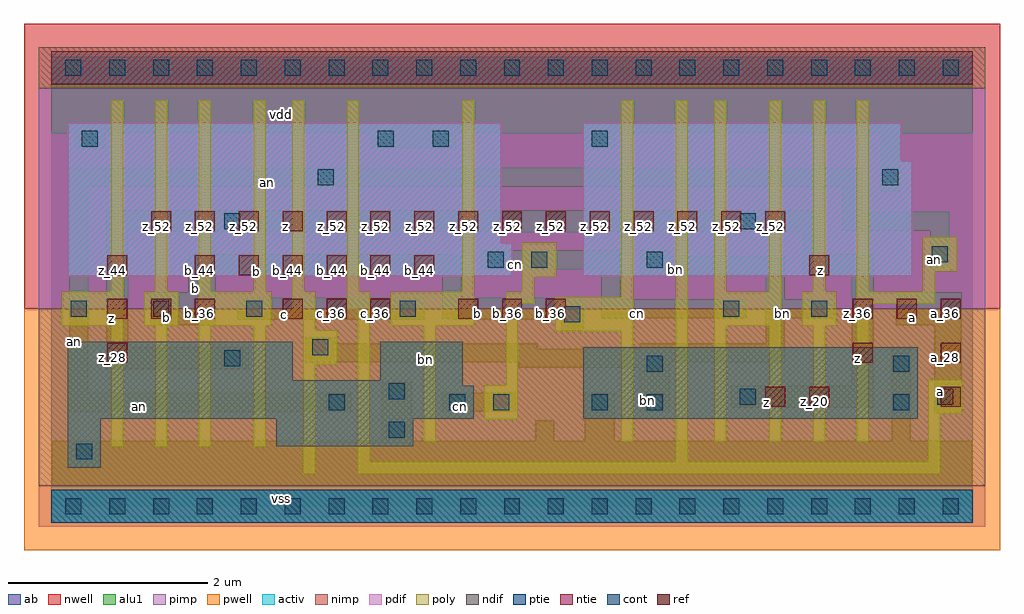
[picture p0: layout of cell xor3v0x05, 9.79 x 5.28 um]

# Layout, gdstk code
import gdstk
lib = gdstk.Library(unit=1e-6, precision=2.5e-09)
def R(c, l, rs):  # rectangles x0, y0, x1, y1
    for r in rs: c.add(gdstk.rectangle(r[:2], r[2:], *l))
def A(c, l, x, y, w, h, nx, ny, dx, dy):  # array of equal rectangles
    R(c, l, [(x+i*dx, y+j*dy, x+i*dx+w, y+j*dy+h) for i in range(nx) for j in range(ny)])
ndif = (3, 0)
pdif = (4, 0)
ntie = (5, 0)
ptie = (6, 0)
ref = (24, 0)
cont = (25, 0)
pwell = (41, 0)
nwell = (42, 0)
activ = (43, 0)
pimp = (44, 0)
nimp = (45, 0)
poly = (46, 0)
alu1 = (49, 0)
ab = (63, 0)

xor3v0x05 = lib.new_cell('xor3v0x05')
R(xor3v0x05, ndif, [(0.165,0.385,0.495,0.88), (2.255,0.605,3.63,0.88), (0.165,0.88,4.235,1.21), (5.335,0.88,8.69,1.595), (0.165,1.21,4.125,1.265), (0.165,1.265,2.42,1.65), (3.3,1.265,4.125,1.65)])
R(xor3v0x05, pdif, [(0.165,2.31,4.62,2.64), (5.335,2.31,8.635,3.465), (0.165,2.64,4.51,3.85), (5.335,3.465,8.525,3.85)])
R(xor3v0x05, ntie, [(0,4.235,9.24,4.565)])
R(xor3v0x05, ptie, [(0,-0.165,9.24,0.165)])
A(xor3v0x05, ref, 0.56, 1.88, 0.2, 0.2, 3, 1, 0.44, 0)
A(xor3v0x05, ref, 2.32, 1.88, 0.2, 0.2, 3, 1, 0.44, 0)
A(xor3v0x05, ref, 4.08, 1.88, 0.2, 0.2, 3, 1, 0.44, 0)
A(xor3v0x05, ref, 8.04, 1.88, 0.2, 0.2, 3, 1, 0.44, 0)
A(xor3v0x05, ref, 1.44, 2.32, 0.2, 0.2, 6, 1, 0.44, 0)
A(xor3v0x05, ref, 1, 2.76, 0.2, 0.2, 15, 1, 0.44, 0)
R(xor3v0x05, ref, [(7.16,1,7.36,1.2), (7.6,1,7.8,1.2), (8.92,1,9.12,1.2), (0.56,1.44,0.76,1.64), (8.04,1.44,8.24,1.64), (8.92,1.44,9.12,1.64), (0.56,2.32,0.76,2.52), (7.6,2.32,7.8,2.52)])
A(xor3v0x05, cont, 0.14, -0.08, 0.16, 0.16, 21, 2, 0.44, 4.4)
R(xor3v0x05, cont, [(0.25,0.47,0.41,0.63), (3.385,0.69,3.545,0.85), (2.78,0.965,2.94,1.125), (3.99,0.965,4.15,1.125), (4.43,0.965,4.59,1.125), (5.42,0.965,5.58,1.125), (5.97,0.965,6.13,1.125), (8.445,0.965,8.605,1.125), (6.905,1.02,7.065,1.18), (8.885,1.02,9.045,1.18), (3.385,1.075,3.545,1.235), (5.97,1.35,6.13,1.51), (8.445,1.35,8.605,1.51), (1.735,1.405,1.895,1.565), (2.615,1.515,2.775,1.675), (5.145,1.845,5.305,2.005), (0.195,1.9,0.355,2.06), (1.02,1.9,1.18,2.06), (1.955,1.9,2.115,2.06), (3.495,1.9,3.655,2.06), (6.74,1.9,6.9,2.06), (7.62,1.9,7.78,2.06), (4.375,2.395,4.535,2.555), (4.815,2.395,4.975,2.555), (5.97,2.395,6.13,2.555), (8.83,2.45,8.99,2.61), (1.735,2.78,1.895,2.94), (6.905,2.78,7.065,2.94), (2.67,3.22,2.83,3.38), (8.335,3.22,8.495,3.38), (0.305,3.605,0.465,3.765), (3.275,3.605,3.435,3.765), (3.825,3.605,3.985,3.765), (5.42,3.605,5.58,3.765)])
R(xor3v0x05, pwell, [(-0.275,-0.44,9.515,1.98)])
R(xor3v0x05, nwell, [(-0.275,1.98,9.515,4.84)])
R(xor3v0x05, activ, [(0,-0.165,9.24,0.165), (0.165,0.385,0.495,0.88), (2.255,0.605,3.63,0.88), (0.165,0.88,4.235,1.21), (5.335,0.88,8.69,1.595), (0.165,1.21,4.125,1.265), (0.165,1.265,2.42,1.65), (3.3,1.265,4.125,1.65), (0.165,2.31,4.62,2.64), (5.335,2.31,8.635,3.465), (0.165,2.64,4.51,3.85), (5.335,3.465,8.525,3.85), (0,4.235,9.24,4.565)])
R(xor3v0x05, pimp, [(-0.125,-0.205,9.365,0.205), (-0.125,1.98,9.365,4.195)])
R(xor3v0x05, nimp, [(-0.125,0.205,9.365,1.98), (-0.125,4.195,9.365,4.605)])
A(xor3v0x05, poly, 0.6, 0.6, 0.12, 1.21, 3, 1, 0.44, 0)
A(xor3v0x05, poly, 0.6, 2.15, 0.12, 1.925, 3, 1, 0.44, 0)
A(xor3v0x05, poly, 7.2, 2.15, 0.12, 1.925, 3, 1, 0.44, 0)
R(xor3v0x05, poly, [(2.525,0.325,2.645,1.425), (3.075,0.325,8.915,0.445), (3.075,0.445,3.195,1.975), (6.265,0.445,6.385,4.075), (8.795,0.445,8.915,0.93), (2.03,0.6,2.15,1.81), (3.735,0.655,3.855,1.81), (5.715,0.655,5.835,1.755), (6.65,0.655,6.77,1.81), (7.2,0.655,7.32,1.81), (7.64,0.655,7.76,1.81), (8.08,0.655,8.2,2.03), (4.34,0.875,4.68,1.215), (8.795,0.93,9.135,1.27), (4.56,1.215,4.68,2.03), (2.525,1.425,2.865,1.765), (5.055,1.755,5.835,2.095), (2.525,1.765,2.645,1.975), (0.105,1.81,0.72,2.15), (0.93,1.81,1.27,2.15), (1.48,1.81,2.205,2.15), (3.405,1.81,4.24,2.15), (6.65,1.81,7.32,2.15), (7.53,1.81,7.87,2.15), (2.415,1.975,2.645,2.15), (2.965,1.975,3.195,2.15), (4.56,2.03,4.845,2.15), (8.08,2.03,8.86,2.15), (5.715,2.095,5.835,4.075), (2.03,2.15,2.15,4.075), (2.415,2.15,2.535,4.075), (2.965,2.15,3.085,4.075), (4.12,2.15,4.24,4.075), (4.725,2.15,4.845,2.305), (6.65,2.15,6.77,4.075), (8.74,2.15,8.86,2.36), (4.725,2.305,5.065,2.645), (8.74,2.36,9.08,2.7)])
R(xor3v0x05, alu1, [(0,-0.11,9.24,0.66), (3.315,0.66,3.615,1.25), (4.855,0.66,5.045,0.865), (5.35,0.66,5.65,1.14), (8.43,0.66,8.62,1.58), (8.855,0.935,9.13,1.815), (0.18,0.95,3.01,1.14), (3.92,0.95,4.66,1.14), (5.9,0.95,6.2,1.39), (6.82,0.99,8.25,1.21), (0.18,1.14,0.37,3.205), (8.03,1.21,8.25,2.31), (0.55,1.375,1.98,1.595), (4.69,1.39,6.2,1.445), (2.545,1.445,7.355,1.58), (2.545,1.58,4.88,1.635), (5.9,1.58,7.355,1.635), (0.55,1.595,0.77,2.75), (2.545,1.635,2.845,1.69), (7.165,1.635,7.355,1.885), (5.115,1.76,5.335,1.87), (0.99,1.815,1.65,2.145), (8.47,1.815,9.13,2.145), (1.87,1.87,3.74,2.09), (4.015,1.87,5.335,1.885), (3.92,1.885,5.335,2.09), (5.515,1.885,6.97,2.075), (7.165,1.885,7.85,2.075), (5.515,2.075,5.705,2.38), (7.165,2.075,7.355,2.325), (3.92,2.09,4.11,2.31), (1.375,2.145,1.65,2.31), (1.375,2.31,4.11,2.515), (7.535,2.31,8.25,2.53), (5.9,2.325,7.355,2.515), (4.305,2.38,5.705,2.57), (8.815,2.38,9.005,2.765), (1.375,2.515,4.015,2.53), (5.9,2.515,6.2,2.57), (7.535,2.53,7.755,2.75), (0.55,2.75,7.755,2.97), (7.935,2.765,9.005,2.955), (7.935,2.955,8.125,3.205), (8.32,3.15,8.51,3.74), (0.18,3.205,8.125,3.395), (0.235,3.59,0.535,3.74), (3.205,3.59,4.055,3.74), (5.35,3.59,5.65,3.74), (0,3.74,9.24,4.51)])
R(xor3v0x05, ab, [(0,0,9.24,4.4)])
xor3v0x05.add(gdstk.Label('vss', (2.31,0.0825), layer=49, texttype=0))
xor3v0x05.add(gdstk.Label('a', (8.9225,1.155), layer=49, texttype=0))
xor3v0x05.add(gdstk.Label('z', (7.1775,1.045), layer=49, texttype=0))
xor3v0x05.add(gdstk.Label('a', (8.635,1.8975), layer=49, texttype=0))
xor3v0x05.add(gdstk.Label('z', (8.085,1.485), layer=49, texttype=0))
xor3v0x05.add(gdstk.Label('bn', (5.975,1.06), layer=49, texttype=0))
xor3v0x05.add(gdstk.Label('cn', (4.105,0.9975), layer=49, texttype=0))
xor3v0x05.add(gdstk.Label('an', (0.8875,0.9975), layer=49, texttype=0))
xor3v0x05.add(gdstk.Label('bn', (3.7475,1.4775), layer=49, texttype=0))
xor3v0x05.add(gdstk.Label('bn', (7.335,1.9325), layer=49, texttype=0))
xor3v0x05.add(gdstk.Label('cn', (5.8775,1.9325), layer=49, texttype=0))
xor3v0x05.add(gdstk.Label('an', (8.8625,2.475), layer=49, texttype=0))
xor3v0x05.add(gdstk.Label('z', (7.7125,2.365), layer=49, texttype=0))
xor3v0x05.add(gdstk.Label('bn', (6.2625,2.3725), layer=49, texttype=0))
xor3v0x05.add(gdstk.Label('b', (4.2725,1.935), layer=49, texttype=0))
xor3v0x05.add(gdstk.Label('c', (2.3375,1.925), layer=49, texttype=0))
xor3v0x05.add(gdstk.Label('b', (1.155,1.8975), layer=49, texttype=0))
xor3v0x05.add(gdstk.Label('b', (1.4425,2.185), layer=49, texttype=0))
xor3v0x05.add(gdstk.Label('cn', (4.655,2.4275), layer=49, texttype=0))
xor3v0x05.add(gdstk.Label('b', (2.0575,2.36), layer=49, texttype=0))
xor3v0x05.add(gdstk.Label('z', (0.605,1.8825), layer=49, texttype=0))
xor3v0x05.add(gdstk.Label('z', (2.35,2.805), layer=49, texttype=0))
xor3v0x05.add(gdstk.Label('an', (0.2275,1.655), layer=49, texttype=0))
xor3v0x05.add(gdstk.Label('an', (2.165,3.2525), layer=49, texttype=0))
xor3v0x05.add(gdstk.Label('vdd', (2.31,3.9325), layer=49, texttype=0))
xor3v0x05.add(gdstk.Label('z_52', (5.45,2.81), layer=24, texttype=0))
xor3v0x05.add(gdstk.Label('z_52', (5.89,2.81), layer=24, texttype=0))
xor3v0x05.add(gdstk.Label('z_52', (6.33,2.81), layer=24, texttype=0))
xor3v0x05.add(gdstk.Label('z_28', (0.61,1.49), layer=24, texttype=0))
xor3v0x05.add(gdstk.Label('z_36', (0.61,1.93), layer=24, texttype=0))
xor3v0x05.add(gdstk.Label('z_44', (0.61,2.37), layer=24, texttype=0))
xor3v0x05.add(gdstk.Label('z_52', (6.77,2.81), layer=24, texttype=0))
xor3v0x05.add(gdstk.Label('z_20', (7.21,1.05), layer=24, texttype=0))
xor3v0x05.add(gdstk.Label('z_52', (7.21,2.81), layer=24, texttype=0))
xor3v0x05.add(gdstk.Label('z_20', (7.65,1.05), layer=24, texttype=0))
xor3v0x05.add(gdstk.Label('z_44', (7.65,2.37), layer=24, texttype=0))
xor3v0x05.add(gdstk.Label('z_28', (8.09,1.49), layer=24, texttype=0))
xor3v0x05.add(gdstk.Label('z_36', (8.09,1.93), layer=24, texttype=0))
xor3v0x05.add(gdstk.Label('a_36', (8.53,1.93), layer=24, texttype=0))
xor3v0x05.add(gdstk.Label('a_20', (8.97,1.05), layer=24, texttype=0))
xor3v0x05.add(gdstk.Label('a_28', (8.97,1.49), layer=24, texttype=0))
xor3v0x05.add(gdstk.Label('a_36', (8.97,1.93), layer=24, texttype=0))
xor3v0x05.add(gdstk.Label('b_36', (1.05,1.93), layer=24, texttype=0))
xor3v0x05.add(gdstk.Label('z_52', (1.05,2.81), layer=24, texttype=0))
xor3v0x05.add(gdstk.Label('b_36', (1.49,1.93), layer=24, texttype=0))
xor3v0x05.add(gdstk.Label('b_44', (1.49,2.37), layer=24, texttype=0))
xor3v0x05.add(gdstk.Label('z_52', (1.49,2.81), layer=24, texttype=0))
xor3v0x05.add(gdstk.Label('b_44', (1.93,2.37), layer=24, texttype=0))
xor3v0x05.add(gdstk.Label('z_52', (1.93,2.81), layer=24, texttype=0))
xor3v0x05.add(gdstk.Label('c_36', (2.37,1.93), layer=24, texttype=0))
xor3v0x05.add(gdstk.Label('b_44', (2.37,2.37), layer=24, texttype=0))
xor3v0x05.add(gdstk.Label('z_52', (2.37,2.81), layer=24, texttype=0))
xor3v0x05.add(gdstk.Label('c_36', (2.81,1.93), layer=24, texttype=0))
xor3v0x05.add(gdstk.Label('b_44', (2.81,2.37), layer=24, texttype=0))
xor3v0x05.add(gdstk.Label('z_52', (2.81,2.81), layer=24, texttype=0))
xor3v0x05.add(gdstk.Label('c_36', (3.25,1.93), layer=24, texttype=0))
xor3v0x05.add(gdstk.Label('b_44', (3.25,2.37), layer=24, texttype=0))
xor3v0x05.add(gdstk.Label('z_52', (3.25,2.81), layer=24, texttype=0))
xor3v0x05.add(gdstk.Label('b_44', (3.69,2.37), layer=24, texttype=0))
xor3v0x05.add(gdstk.Label('z_52', (3.69,2.81), layer=24, texttype=0))
xor3v0x05.add(gdstk.Label('b_36', (4.13,1.93), layer=24, texttype=0))
xor3v0x05.add(gdstk.Label('z_52', (4.13,2.81), layer=24, texttype=0))
xor3v0x05.add(gdstk.Label('b_36', (4.57,1.93), layer=24, texttype=0))
xor3v0x05.add(gdstk.Label('z_52', (4.57,2.81), layer=24, texttype=0))
xor3v0x05.add(gdstk.Label('b_36', (5.01,1.93), layer=24, texttype=0))
xor3v0x05.add(gdstk.Label('z_52', (5.01,2.81), layer=24, texttype=0))

lib.write_gds('xor3v0x05.gds')
